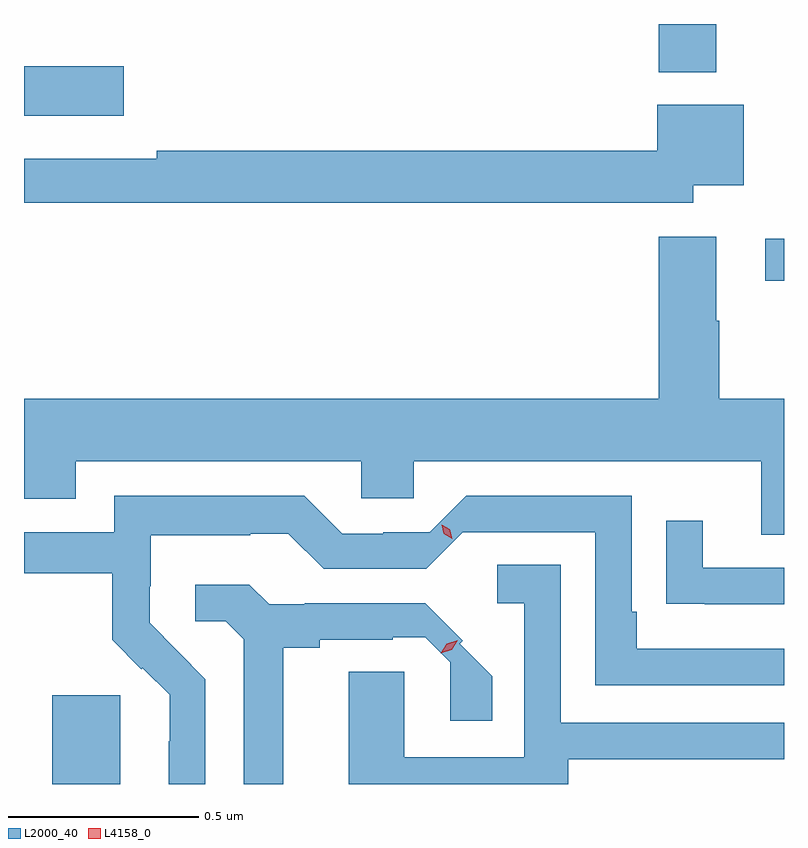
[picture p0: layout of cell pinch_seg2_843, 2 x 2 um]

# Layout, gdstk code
import gdstk
lib = gdstk.Library(unit=1e-6, precision=1e-09)
def R(c, l, rs):  # rectangles x0, y0, x1, y1
    for r in rs: c.add(gdstk.rectangle(r[:2], r[2:], *l))
def P(c, l, *ps):  # polygons
    for p in ps: c.add(gdstk.Polygon(p, *l))
L2000_40 = (2000, 40)
L4158_0 = (4158, 0)

pinch_seg2_843 = lib.new_cell('pinch_seg2_843')
R(pinch_seg2_843, L2000_40, [(748.295,590.842,748.474,591.075), (750.171,592.167,750.221,592.277), (748.221,592.601,748.483,592.731), (749.891,592.715,750.043,592.842)])
P(pinch_seg2_843, L2000_40, [(749.982,592.418),(750.115,592.418),(750.115,592.63),(749.888,592.63),(749.888,592.508),(748.57,592.508),(748.57,592.488),(748.221,592.488),(748.221,592.372),(749.982,592.372)],
  [(750.221,591.856),(750.051,591.856),(750.051,592.061),(750.043,592.061),(750.043,592.282),(749.891,592.282),(749.891,591.856),(748.221,591.856),(748.221,591.593),(748.357,591.593),(748.357,591.692),(749.109,591.692),(749.109,591.594),(749.247,591.594),(749.247,591.692),(750.161,591.692),(750.161,591.498),(750.221,591.498)],
  [(748.698,591.118),(748.625,591.191),(748.626,591.192),(748.552,591.266),(748.552,591.363),(748.554,591.363),(748.554,591.497),(748.817,591.497),(748.817,591.501),(748.917,591.501),(749.01,591.408),(749.28,591.408),(749.376,591.504),(749.724,591.504),(749.724,591.102),(750.221,591.102),(750.221,591.198),(749.833,591.198),(749.833,591.295),(749.82,591.295),(749.82,591.6),(749.385,591.6),(749.289,591.504),(749.166,591.504),(749.166,591.501),(749.059,591.501),(748.959,591.601),(748.458,591.601),(748.458,591.504),(748.221,591.504),(748.221,591.396),(748.453,591.396),(748.453,591.221),(748.53,591.144),(748.533,591.147),(748.604,591.077),(748.604,590.954),(748.602,590.954),(748.602,590.842),(748.698,590.842)],
  [(750.221,591.411),(750.007,591.411),(750.007,591.535),(749.911,591.535),(749.911,591.316),(750.013,591.316),(750.013,591.315),(750.221,591.315)],
  [(749.653,590.907),(750.221,590.907),(750.221,591.003),(749.634,591.003),(749.634,591.419),(749.466,591.419),(749.466,591.318),(749.538,591.318),(749.538,590.913),(749.221,590.913),(749.221,591.137),(749.075,591.137),(749.075,590.842),(749.653,590.842)],
  [(748.903,591.2),(748.999,591.2),(748.999,591.222),(749.192,591.222),(749.192,591.228),(749.277,591.228),(749.343,591.162),(749.343,591.009),(749.453,591.009),(749.453,591.125),(749.368,591.211),(749.376,591.219),(749.277,591.318),(748.96,591.318),(748.96,591.315),(748.866,591.315),(748.814,591.367),(748.671,591.367),(748.671,591.27),(748.752,591.27),(748.799,591.223),(748.799,590.842),(748.903,590.842)])
P(pinch_seg2_843, L4158_0, [(749.318,591.186),(749.318,591.186),(749.334,591.211),(749.362,591.22),(749.362,591.22),(749.362,591.22),(749.346,591.195),(749.318,591.186)],
  [(749.348,591.487),(749.326,591.5),(749.32,591.524),(749.32,591.524),(749.32,591.524),(749.342,591.512),(749.348,591.487),(749.348,591.487)])

lib.write_gds('pinch_seg2_843.gds')
